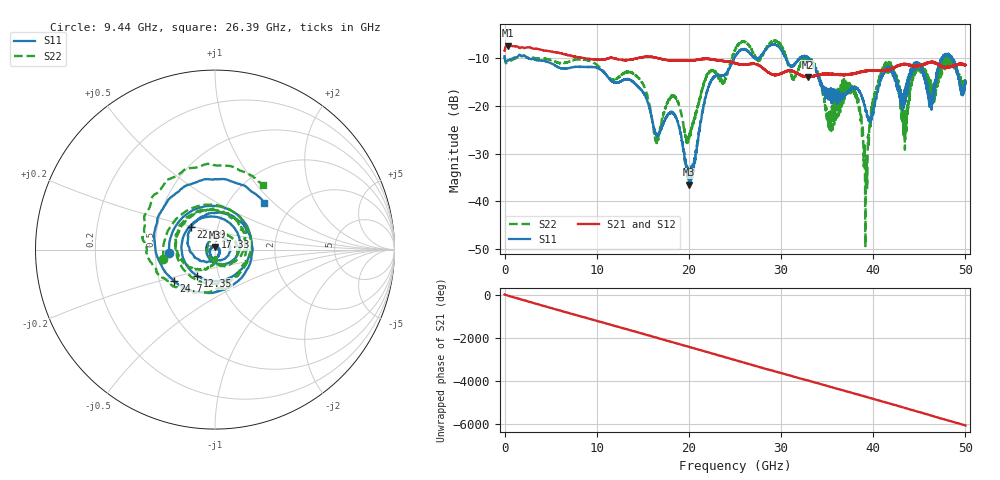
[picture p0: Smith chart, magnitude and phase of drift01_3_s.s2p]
!Created with skrf (http://scikit-rf.org).
# Hz S RI R 50.0
!freq ReS11 ImS11 ReS21 ImS21 ReS12 ImS12 ReS22 ImS22
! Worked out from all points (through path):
!   10001 points, 300 kHz to 50 GHz, reference 50 ohm
!   highest |S21| = -7.32 dB at 325.3 MHz (marker M1); lowest = -14.0 dB at 32.89 GHz (marker M2)
!   group delay of S21, straight-line fit = 335 ps
!   lowest |S11| = -36.5 dB at 20.03 GHz (marker M3), VSWR 1.03, Z = 50 + j1.49 ohm
!   |S11| at or under -10 dB: 2.553 GHz to 24.91 GHz (22.35 GHz wide, 163 % of centre); 30.5 GHz to 32.02 GHz (1.518 GHz wide, 4.86 % of centre); 33.04 GHz to 47.42 GHz (14.37 GHz wide, 35.7 % of centre) (the widest 3 of 22)
!   |S22| runs from -49.4 to -6.2 dB; largest |S21 - S12| = 0.0088
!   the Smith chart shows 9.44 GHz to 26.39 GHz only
!   S11 on the Smith chart (normalised r, x): 9.44 GHz: 0.59, -0.02; 12.35 GHz: 0.79, -0.24; 17.33 GHz: 1.00, +0.14; 22.39 GHz: 0.74, +0.19; 24.7 GHz: 0.60, -0.23; 26.39 GHz: 1.45, +0.87
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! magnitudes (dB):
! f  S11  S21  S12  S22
! 300 kHz  -9.5  -8.4  -8.5  -9.5
! 325.3 MHz  -10.5  -7.3  -7.3  -10.9
! 8.335 GHz  -11.8  -9.9  -9.9  -10.2
! 9.44 GHz  -11.8  -10.2  -10.2  -10.7
! 12.35 GHz  -15.1  -10.2  -10.2  -14.0
! 16.67 GHz  -26.2  -10.0  -10.0  -27.0
! 17.33 GHz  -23.2  -10.3  -10.3  -21.2
! 20.03 GHz  -36.5  -10.5  -10.5  -26.3
! 22.39 GHz  -14.8  -10.1  -10.2  -12.5
! 24.7 GHz  -10.8  -10.8  -10.9  -9.8
! 25 GHz  -9.6  -11.0  -11.0  -8.4
! 26.39 GHz  -8.5  -11.3  -11.2  -7.0
! 32.89 GHz  -9.9  -14.0  -13.9  -10.0
! 33.34 GHz  -10.8  -13.8  -13.8  -10.6
! 35.23 GHz  -16.6  -13.3  -13.3  -22.3
! 37.99 GHz  -16.1  -13.2  -13.1  -17.3
! 39.17 GHz  -20.8  -12.6  -12.7  -41.6
! 40.16 GHz  -20.0  -12.6  -12.5  -17.5
! 41.67 GHz  -12.2  -12.4  -12.4  -11.5
! 43.37 GHz  -18.1  -11.2  -11.3  -23.4
! 44.87 GHz  -11.1  -11.6  -11.5  -11.4
! 50 GHz  -15.3  -11.4  -11.4  -14.9
